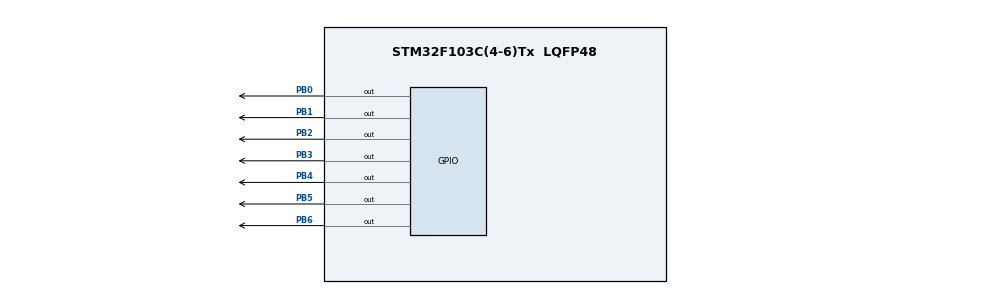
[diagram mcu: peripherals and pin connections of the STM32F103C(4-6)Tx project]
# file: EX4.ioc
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Mcu.Family=STM32F1
Mcu.Name=STM32F103C(4-6)Tx
Mcu.Package=LQFP48
NVIC.PriorityGroup=NVIC_PRIORITYGROUP_4
PB0.Signal=GPIO_Output
PB1.Signal=GPIO_Output
PB2.Signal=GPIO_Output
PB3.Signal=GPIO_Output
PB4.Signal=GPIO_Output
PB5.Signal=GPIO_Output
PB6.Signal=GPIO_Output
PD0-OSC_IN.Mode=HSE-External-Oscillator
PD0-OSC_IN.Signal=RCC_OSC_IN
PD1-OSC_OUT.Mode=HSE-External-Oscillator
PD1-OSC_OUT.Signal=RCC_OSC_OUT
ProjectManager.HeapSize=0x200
ProjectManager.StackSize=0x400
ProjectManager.TargetToolchain=STM32CubeIDE
RCC.AHBCLKDivider=RCC_SYSCLK_DIV4
RCC.AHBFreq_Value=2000000
RCC.APB1Freq_Value=2000000
RCC.APB1TimFreq_Value=2000000
RCC.APB2Freq_Value=2000000
RCC.APB2TimFreq_Value=2000000
RCC.HCLKFreq_Value=2000000
RCC.HSE_VALUE=4000000
RCC.PLLSourceVirtual=RCC_PLLSOURCE_HSE
VP_SYS_VS_ND.Mode=No_Debug
board=custom

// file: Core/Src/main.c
/* USER CODE BEGIN Header */
/**
  ******************************************************************************
  * @file           : main.c
  * @brief          : Main program body
  ******************************************************************************
  * @attention
  *
  * <h2><center>&copy; Copyright (c) 2021 STMicroelectronics.
  * All rights reserved.</center></h2>
  *
  * This software component is licensed by ST under BSD 3-Clause license,
  * the "License"; You may not use this file except in compliance with the
  * License. You may obtain a copy of the License at:
  *                        opensource.org/licenses/BSD-3-Clause
  *
  ******************************************************************************
  */
/* USER CODE END Header */
#include "main.h"

void SystemClock_Config(void);
static void MX_GPIO_Init(void);
/* USER CODE BEGIN PFP */
uint8_t segmentNumber[10] = {
		0x40,// 0
		0x79,// 1
		0x24,// 2
		0x30,// 3
		0x19,// 4
		0x12,// 5
		0x02,// 6
		0x78,// 7
		0x00,// 8
		0x10 // 9
};

/* USER CODE END PFP */

/* USER CODE BEGIN 0 */
void display7SEG(uint8_t number){
	HAL_GPIO_WritePin(GPIOB, GPIO_PIN_6, ((number>>0)&0x01));
	HAL_GPIO_WritePin(GPIOB, GPIO_PIN_5, ((number>>1)&0x01));
	HAL_GPIO_WritePin(GPIOB, GPIO_PIN_4, ((number>>2)&0x01));
	HAL_GPIO_WritePin(GPIOB, GPIO_PIN_3, ((number>>3)&0x01));
	HAL_GPIO_WritePin(GPIOB, GPIO_PIN_2, ((number>>4)&0x01));
	HAL_GPIO_WritePin(GPIOB, GPIO_PIN_1, ((number>>5)&0x01));
	HAL_GPIO_WritePin(GPIOB, GPIO_PIN_0, ((number>>6)&0x01));
}

/* USER CODE END 0 */

int main(void)
{

  /* MCU Configuration--------------------------------------------------------*/

  /* Reset of all peripherals, Initializes the Flash interface and the Systick. */
  HAL_Init();

  /* Configure the system clock */
  SystemClock_Config();

  /* Initialize all configured peripherals */
  MX_GPIO_Init();
  /* USER CODE BEGIN 2 */
  	  int count = 0;
  /* USER CODE END 2 */

  /* Infinite loop */
  while (1)
  {
	  if(count == 10) count = 0;
	  	display7SEG(segmentNumber[count]);
	  	count++;
	  	HAL_Delay(1000);
  }
}

void SystemClock_Config(void)
{
  RCC_OscInitTypeDef RCC_OscInitStruct = {0};
  RCC_ClkInitTypeDef RCC_ClkInitStruct = {0};

  /** Initializes the RCC Oscillators according to the specified parameters
  * in the RCC_OscInitTypeDef structure.
  */
  RCC_OscInitStruct.OscillatorType = RCC_OSCILLATORTYPE_HSI;
  RCC_OscInitStruct.HSIState = RCC_HSI_ON;
  RCC_OscInitStruct.HSICalibrationValue = RCC_HSICALIBRATION_DEFAULT;
  RCC_OscInitStruct.PLL.PLLState = RCC_PLL_NONE;
  if (HAL_RCC_OscConfig(&RCC_OscInitStruct) != HAL_OK)
  {
    Error_Handler();
  }
  /** Initializes the CPU, AHB and APB buses clocks
  */
  RCC_ClkInitStruct.ClockType = RCC_CLOCKTYPE_HCLK|RCC_CLOCKTYPE_SYSCLK
                              |RCC_CLOCKTYPE_PCLK1|RCC_CLOCKTYPE_PCLK2;
  RCC_ClkInitStruct.SYSCLKSource = RCC_SYSCLKSOURCE_HSI;
  RCC_ClkInitStruct.AHBCLKDivider = RCC_SYSCLK_DIV4;
  RCC_ClkInitStruct.APB1CLKDivider = RCC_HCLK_DIV1;
  RCC_ClkInitStruct.APB2CLKDivider = RCC_HCLK_DIV1;

  if (HAL_RCC_ClockConfig(&RCC_ClkInitStruct, FLASH_LATENCY_0) != HAL_OK)
  {
    Error_Handler();
  }
}

static void MX_GPIO_Init(void)
{
  GPIO_InitTypeDef GPIO_InitStruct = {0};

  /* GPIO Ports Clock Enable */
  __HAL_RCC_GPIOD_CLK_ENABLE();
  __HAL_RCC_GPIOB_CLK_ENABLE();

  /*Configure GPIO pin Output Level */
  HAL_GPIO_WritePin(GPIOB, GPIO_PIN_0|GPIO_PIN_1|GPIO_PIN_2|GPIO_PIN_3
                          |GPIO_PIN_4|GPIO_PIN_5|GPIO_PIN_6, GPIO_PIN_RESET);

  /*Configure GPIO pins : PB0 PB1 PB2 PB3
                           PB4 PB5 PB6 */
  GPIO_InitStruct.Pin = GPIO_PIN_0|GPIO_PIN_1|GPIO_PIN_2|GPIO_PIN_3
                          |GPIO_PIN_4|GPIO_PIN_5|GPIO_PIN_6;
  GPIO_InitStruct.Mode = GPIO_MODE_OUTPUT_PP;
  GPIO_InitStruct.Pull = GPIO_NOPULL;
  GPIO_InitStruct.Speed = GPIO_SPEED_FREQ_LOW;
  HAL_GPIO_Init(GPIOB, &GPIO_InitStruct);

}

void Error_Handler(void)
{
  __disable_irq();
  while (1)
  {
  }
}

/************************ (C) COPYRIGHT STMicroelectronics *****END OF FILE****/
